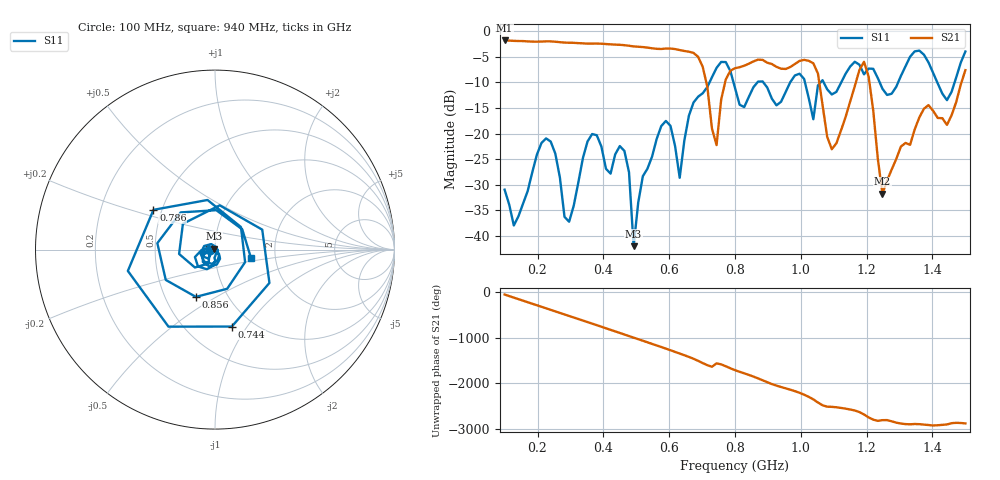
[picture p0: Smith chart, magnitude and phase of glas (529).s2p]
! NanoVNA-App
! Date: 2025-09-25 15:59:35
! Start: 100MHz Stop: 1,5GHz Points: 101
! S-Parameter data: F S11 S21 S12 S22
# Hz S RI R 50
!  Frequency  S11_Real  S11_Imag  S21_Real  S21_Imag  S12_Real  S12_Imag  S22_Real  S22_Imag
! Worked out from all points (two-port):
!   101 points, 100 MHz to 1.5 GHz, reference 50 ohm
!   highest |S21| = -1.80 dB at 100 MHz (marker M1); lowest = -31.7 dB at 1.248 GHz (marker M2)
!   |S21| within 3 dB of the highest: start of sweep to 684.4 MHz
!   lowest |S11| = -42.0 dB at 492 MHz (marker M3), VSWR 1.02, Z = 49.5 + j0.598 ohm
!   |S11| at or under -10 dB: start of sweep to 722.5 MHz; 795.4 MHz to 867.9 MHz (72.48 MHz wide, 8.71 % of centre); 886.3 MHz to 967.5 MHz (81.28 MHz wide, 8.77 % of centre) (the widest 3 of 7)
!   S12 and S22 are empty: the file has one direction only
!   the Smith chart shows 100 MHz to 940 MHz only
!   S11 on the Smith chart (normalised r, x): 100 MHz: 0.95, -0.01; 744 MHz: 0.80, -0.85; 786 MHz: 0.45, +0.24; 856 MHz: 0.71, -0.41; 940 MHz: 1.49, -0.14
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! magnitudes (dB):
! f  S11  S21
! 100 MHz  -30.9  -1.8
! 128 MHz  -37.9  -1.9
! 226 MHz  -20.9  -2.0
! 296 MHz  -37.2  -2.2
! 338 MHz  -24.7  -2.4
! 464 MHz  -23.4  -2.7
! 492 MHz  -42.0  -3.0
! 576 MHz  -18.5  -3.5
! 632 MHz  -28.6  -3.7
! 702 MHz  -12.1  -7.0
! 744 MHz  -7.2  -22.2
! 786 MHz  -7.8  -7.7
! 800 MHz  -11.1  -7.2
! 856 MHz  -10.9  -5.9
! 940 MHz  -13.8  -7.3
! 1.038 GHz  -17.2  -6.3
! 1.094 GHz  -12.3  -23.0
! 1.192 GHz  -8.4  -6.0
! 1.248 GHz  -11.2  -31.7
! 1.276 GHz  -12.2  -27.0
! 1.444 GHz  -13.5  -18.3
! 1.5 GHz  -4.0  -7.6
